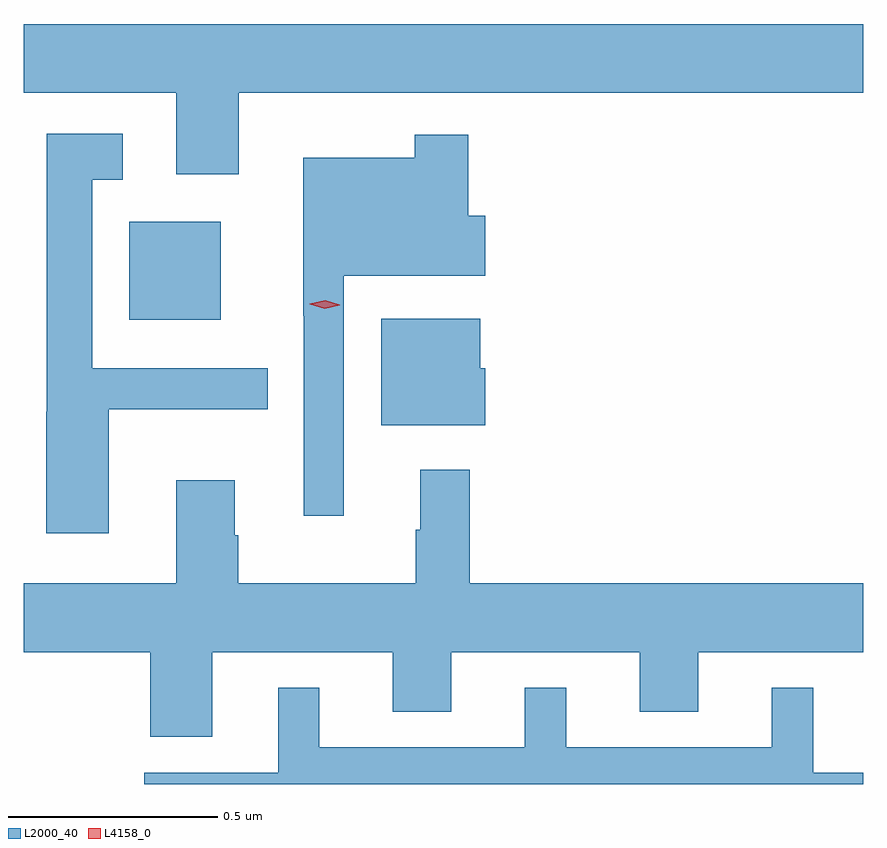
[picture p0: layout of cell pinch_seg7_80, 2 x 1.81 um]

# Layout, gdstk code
import gdstk
lib = gdstk.Library(unit=1e-6, precision=1e-09)
def R(c, l, rs):  # rectangles x0, y0, x1, y1
    for r in rs: c.add(gdstk.rectangle(r[:2], r[2:], *l))
def P(c, l, *ps):  # polygons
    for p in ps: c.add(gdstk.Polygon(p, *l))
L2000_40 = (2000, 40)
L4158_0 = (4158, 0)

pinch_seg7_80 = lib.new_cell('pinch_seg7_80')
R(pinch_seg7_80, L2000_40, [(922.118,1070.672,922.336,1070.905)])
P(pinch_seg7_80, L2000_40, [(922.378,1071.212),(923.866,1071.212),(923.866,1071.376),(921.866,1071.376),(921.866,1071.212),(922.229,1071.212),(922.229,1071.018),(922.378,1071.018)],
  [(922.069,1070.459),(922.448,1070.459),(922.448,1070.556),(922.029,1070.556),(922.029,1071.005),(922.102,1071.005),(922.102,1071.115),(921.921,1071.115),(921.921,1070.453),(921.92,1070.453),(921.92,1070.163),(922.069,1070.163)],
  [(922.629,1070.777),(922.966,1070.777),(922.966,1070.919),(922.925,1070.919),(922.925,1071.112),(922.797,1071.112),(922.797,1071.058),(922.532,1071.058),(922.532,1070.681),(922.533,1070.681),(922.533,1070.205),(922.629,1070.205)],
  [(922.966,1070.556),(922.954,1070.556),(922.954,1070.674),(922.718,1070.674),(922.718,1070.42),(922.966,1070.42)],
  [(922.315,1069.88),(922.745,1069.88),(922.745,1069.738),(922.885,1069.738),(922.885,1069.88),(923.333,1069.88),(923.333,1069.738),(923.473,1069.738),(923.473,1069.88),(923.866,1069.88),(923.866,1070.044),(922.928,1070.044),(922.928,1070.314),(922.811,1070.314),(922.811,1070.171),(922.8,1070.171),(922.8,1070.044),(922.377,1070.044),(922.377,1070.159),(922.369,1070.159),(922.369,1070.29),(922.229,1070.29),(922.229,1070.044),(921.866,1070.044),(921.866,1069.88),(922.168,1069.88),(922.168,1069.678),(922.315,1069.678)],
  [(923.866,1069.593),(923.746,1069.593),(923.746,1069.795),(923.648,1069.795),(923.648,1069.653),(923.158,1069.653),(923.158,1069.795),(923.06,1069.795),(923.06,1069.653),(922.57,1069.653),(922.57,1069.795),(922.472,1069.795),(922.472,1069.593),(922.153,1069.593),(922.153,1069.566),(923.866,1069.566)])
P(pinch_seg7_80, L4158_0, [(922.583,1070.698),(922.548,1070.709),(922.548,1070.71),(922.548,1070.71),(922.584,1070.718),(922.619,1070.707),(922.619,1070.707),(922.619,1070.706)])

lib.write_gds('pinch_seg7_80.gds')
